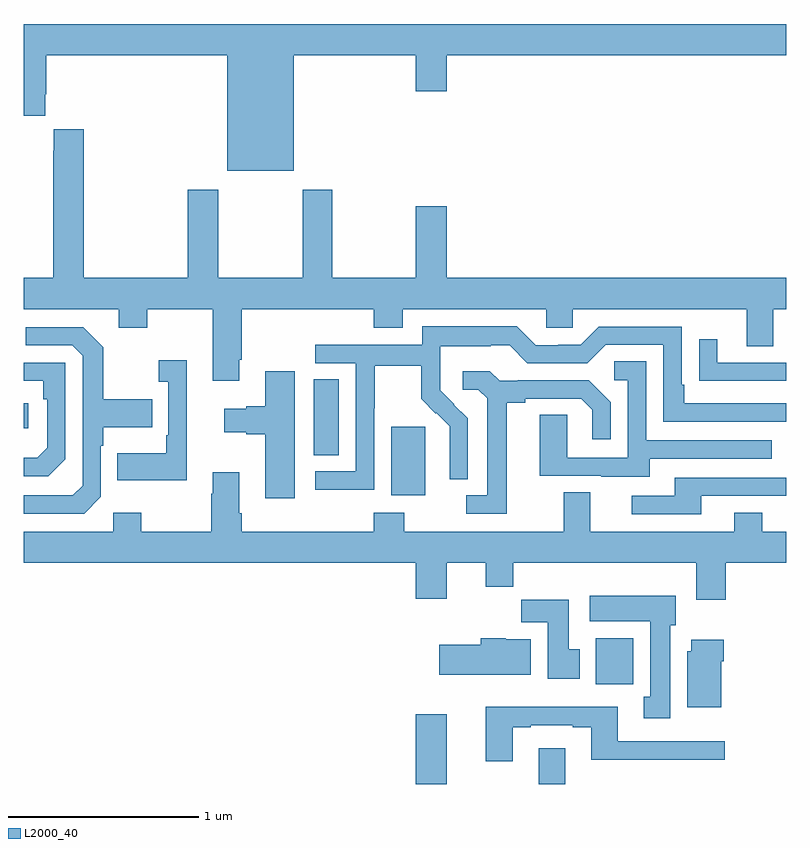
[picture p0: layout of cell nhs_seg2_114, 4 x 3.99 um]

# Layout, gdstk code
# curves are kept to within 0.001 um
import gdstk
lib = gdstk.Library(unit=1e-6, precision=1e-09)
def R(c, l, rs):  # rectangles x0, y0, x1, y1
    for r in rs: c.add(gdstk.rectangle(r[:2], r[2:], *l))
def P(c, l, *ps):  # polygons
    for p in ps: c.add(gdstk.Polygon(p, *l))
L2000_40 = (2000, 40)

nhs_seg2_114 = lib.new_cell('nhs_seg2_114')
R(nhs_seg2_114, L2000_40, [(117.056,655.8,117.22,656.167), (117.701,655.8,117.841,655.987), (118.001,656.324,118.198,656.566), (116.927,657.314,117.106,657.675), (116.522,657.526,116.653,657.923), (115,657.668,115.024,657.798)])
P(nhs_seg2_114, L2000_40, [(116.416,659.624),(117.056,659.624),(117.056,659.436),(117.22,659.436),(117.22,659.624),(119,659.624),(119,659.788),(115,659.788),(115,659.307),(115.111,659.307),(115.111,659.419),(115.118,659.419),(115.118,659.624),(116.066,659.624),(116.066,659.018),(116.416,659.018)],
  [(116.131,658.027),(116.144,658.027),(116.144,658.292),(116.837,658.292),(116.837,658.193),(116.989,658.193),(116.989,658.292),(117.741,658.292),(117.741,658.194),(117.879,658.194),(117.879,658.292),(118.793,658.292),(118.793,658.098),(118.933,658.098),(118.933,658.292),(119,658.292),(119,658.456),(117.22,658.456),(117.22,658.831),(117.056,658.831),(117.056,658.456),(116.619,658.456),(116.619,658.918),(116.464,658.918),(116.464,658.456),(116.019,658.456),(116.019,658.918),(115.859,658.918),(115.859,658.456),(115.313,658.456),(115.313,659.236),(115.157,659.236),(115.157,659.123),(115.153,659.123),(115.153,658.456),(115,658.456),(115,658.292),(115.499,658.292),(115.499,658.193),(115.647,658.193),(115.647,658.292),(115.991,658.292),(115.991,657.915),(116.131,657.915)],
  [(116.838,657.772),(116.841,657.772),(116.841,657.996),(117.085,657.996),(117.085,657.821),(117.162,657.744),(117.165,657.747),(117.236,657.677),(117.236,657.554),(117.234,657.554),(117.234,657.4),(117.33,657.4),(117.33,657.718),(117.184,657.866),(117.184,657.963),(117.186,657.963),(117.186,658.097),(117.449,658.097),(117.449,658.101),(117.549,658.101),(117.642,658.008),(117.957,658.008),(118.053,658.104),(118.356,658.104),(118.356,657.702),(119,657.702),(119,657.798),(118.465,657.798),(118.465,657.895),(118.452,657.895),(118.452,658.2),(118.017,658.2),(117.921,658.104),(117.803,658.104),(117.803,658.101),(117.687,658.101),(117.587,658.201),(117.09,658.201),(117.09,658.104),(116.529,658.104),(116.529,658.008),(116.742,658.008),(116.742,657.441),(116.529,657.441),(116.529,657.343),(116.838,657.343)],
  [(115.404,657.306),(115.404,657.575),(115.417,657.575),(115.417,657.671),(115.673,657.671),(115.673,657.819),(115.417,657.819),(115.417,658.091),(115.311,658.197),(115.011,658.197),(115.011,658.101),(115.254,658.101),(115.308,658.047),(115.308,657.366),(115.257,657.315),(115,657.315),(115,657.219),(115.317,657.219)],
  [(119,658.011),(118.639,658.011),(118.639,658.135),(118.543,658.135),(118.543,657.916),(118.645,657.916),(118.645,657.915),(119,657.915)],
  [(115.856,658.024),(115.707,658.024),(115.707,657.911),(115.758,657.911),(115.758,657.631),(115.746,657.631),(115.746,657.535),(115.489,657.535),(115.489,657.395),(115.856,657.395)],
  [(118.285,657.507),(118.925,657.507),(118.925,657.603),(118.266,657.603),(118.266,658.019),(118.098,658.019),(118.098,657.918),(118.17,657.918),(118.17,657.513),(117.852,657.513),(117.852,657.737),(117.707,657.737),(117.707,657.417),(118.031,657.417),(118.031,657.413),(118.285,657.413)],
  [(115.218,657.504),(115.218,658.011),(115,658.011),(115,657.915),(115.102,657.915),(115.102,657.818),(115.122,657.818),(115.122,657.564),(115.069,657.511),(115,657.511),(115,657.414),(115.128,657.414)],
  [(116.422,657.967),(116.267,657.967),(116.267,657.782),(116.168,657.782),(116.168,657.769),(116.052,657.769),(116.052,657.647),(116.168,657.647),(116.168,657.635),(116.267,657.635),(116.267,657.3),(116.422,657.3)],
  [(117.535,657.8),(117.631,657.8),(117.631,657.822),(117.926,657.822),(117.983,657.765),(117.983,657.609),(118.08,657.609),(118.08,657.802),(117.964,657.918),(117.592,657.918),(117.592,657.915),(117.498,657.915),(117.446,657.967),(117.303,657.967),(117.303,657.87),(117.384,657.87),(117.431,657.823),(117.431,657.315),(117.321,657.315),(117.321,657.219),(117.535,657.219)],
  [(118.682,656.96),(119,656.96),(119,657.124),(118.875,657.124),(118.875,657.223),(118.727,657.223),(118.727,657.124),(117.973,657.124),(117.973,657.332),(117.833,657.332),(117.833,657.124),(116.997,657.124),(116.997,657.223),(116.837,657.223),(116.837,657.124),(116.144,657.124),(116.144,657.22),(116.131,657.22),(116.131,657.436),(115.991,657.436),(115.991,657.323),(115.984,657.323),(115.984,657.124),(115.617,657.124),(115.617,657.223),(115.47,657.223),(115.47,657.124),(115,657.124),(115,656.96),(117.056,656.96),(117.056,656.772),(117.22,656.772),(117.22,656.96),(117.425,656.96),(117.425,656.836),(117.569,656.836),(117.569,656.96),(118.529,656.96),(118.529,656.766),(118.682,656.766)],
  [(118.555,657.312),(119,657.312),(119,657.408),(118.415,657.408),(118.415,657.312),(118.191,657.312),(118.191,657.216),(118.555,657.216)],
  [(118.393,656.634),(118.42,656.634),(118.42,656.788),(117.969,656.788),(117.969,656.654),(118.286,656.654),(118.286,656.258),(118.253,656.258),(118.253,656.145),(118.393,656.145)],
  [(117.916,656.508),(117.859,656.508),(117.859,656.767),(117.61,656.767),(117.61,656.648),(117.749,656.648),(117.749,656.352),(117.916,656.352)],
  [(117.661,656.56),(117.528,656.56),(117.528,656.566),(117.398,656.566),(117.398,656.53),(117.18,656.53),(117.18,656.372),(117.661,656.372)],
  [(118.66,656.444),(118.673,656.444),(118.673,656.557),(118.502,656.557),(118.502,656.496),(118.481,656.496),(118.481,656.204),(118.66,656.204)],
  [(117.565,656.097),(117.661,656.097),(117.661,656.109),(117.881,656.109),(117.881,656.097),(117.977,656.097),(117.977,655.928),(118.678,655.928),(118.678,656.025),(118.117,656.025),(118.117,656.206),(117.425,656.206),(117.425,655.92),(117.565,655.92)])

lib.write_gds('nhs_seg2_114.gds')
